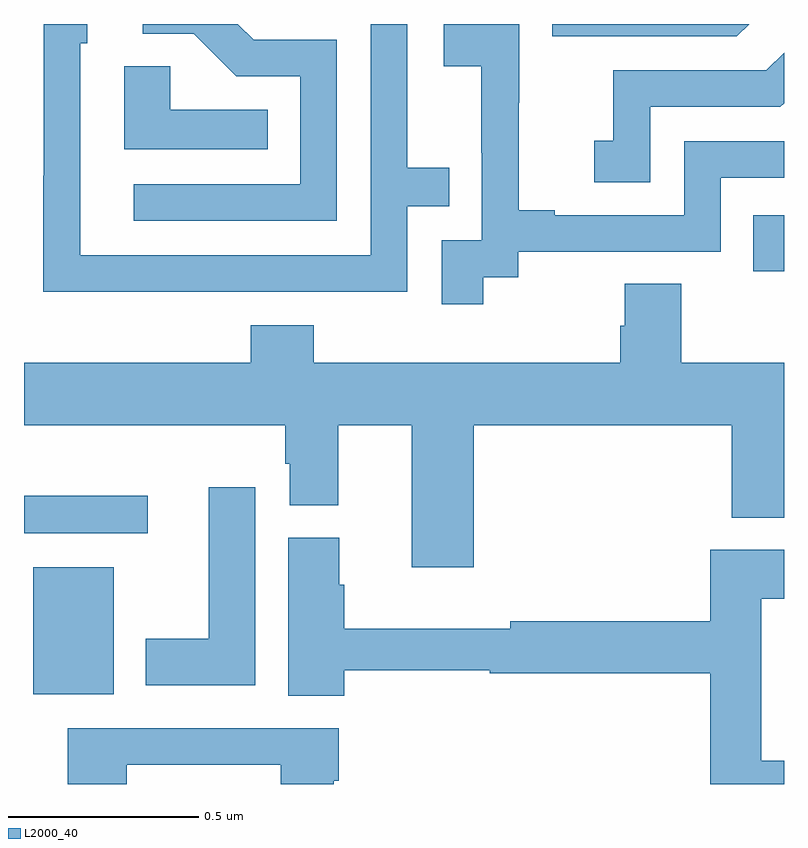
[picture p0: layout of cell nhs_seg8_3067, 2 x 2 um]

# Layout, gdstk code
import gdstk
lib = gdstk.Library(unit=1e-6, precision=1e-09)
def R(c, l, rs):  # rectangles x0, y0, x1, y1
    for r in rs: c.add(gdstk.rectangle(r[:2], r[2:], *l))
def P(c, l, *ps):  # polygons
    for p in ps: c.add(gdstk.Polygon(p, *l))
L2000_40 = (2000, 40)

nhs_seg8_3067 = lib.new_cell('nhs_seg8_3067')
R(nhs_seg8_3067, L2000_40, [(152.024,1105.136,152.236,1105.471), (152,1105.56,152.326,1105.658), (153.919,1106.25,154,1106.397)])
P(nhs_seg8_3067, L2000_40, [(152.513,1106.196),(153.009,1106.196),(153.009,1106.421),(153.119,1106.421),(153.119,1106.522),(153.009,1106.522),(153.009,1106.9),(152.913,1106.9),(152.913,1106.292),(152.148,1106.292),(152.148,1106.85),(152.167,1106.85),(152.167,1106.9),(152.052,1106.9),(152.052,1106.501),(152.05,1106.501),(152.05,1106.195),(152.513,1106.195)],
  [(153.908,1106.9),(153.39,1106.9),(153.39,1106.868),(153.876,1106.868)],
  [(152.823,1106.859),(152.604,1106.859),(152.563,1106.9),(152.313,1106.9),(152.313,1106.874),(152.447,1106.874),(152.558,1106.763),(152.727,1106.763),(152.727,1106.478),(152.289,1106.478),(152.289,1106.382),(152.823,1106.382)],
  [(153.208,1106.233),(153.3,1106.233),(153.3,1106.301),(153.834,1106.301),(153.834,1106.496),(154,1106.496),(154,1106.592),(153.738,1106.592),(153.738,1106.397),(153.397,1106.397),(153.397,1106.41),(153.302,1106.41),(153.302,1106.693),(153.303,1106.693),(153.303,1106.899),(153.105,1106.899),(153.105,1106.789),(153.203,1106.789),(153.203,1106.561),(153.204,1106.561),(153.204,1106.331),(153.099,1106.331),(153.099,1106.163),(153.208,1106.163)],
  [(153.648,1106.682),(153.99,1106.682),(154,1106.692),(154,1106.825),(153.953,1106.778),(153.55,1106.778),(153.55,1106.593),(153.501,1106.593),(153.501,1106.484),(153.648,1106.484)],
  [(152.642,1106.674),(152.385,1106.674),(152.385,1106.789),(152.264,1106.789),(152.264,1106.57),(152.642,1106.57)],
  [(153.184,1105.844),(153.863,1105.844),(153.863,1105.601),(154,1105.601),(154,1106.008),(153.729,1106.008),(153.729,1106.216),(153.581,1106.216),(153.581,1106.106),(153.569,1106.106),(153.569,1106.008),(152.762,1106.008),(152.762,1106.107),(152.597,1106.107),(152.597,1106.008),(152,1106.008),(152,1105.844),(152.687,1105.844),(152.687,1105.743),(152.699,1105.743),(152.699,1105.633),(152.827,1105.633),(152.827,1105.844),(153.02,1105.844),(153.02,1105.47),(153.184,1105.47)],
  [(152.608,1105.681),(152.486,1105.681),(152.486,1105.282),(152.321,1105.282),(152.321,1105.16),(152.608,1105.16)],
  [(154,1104.961),(153.94,1104.961),(153.94,1105.388),(154,1105.388),(154,1105.516),(153.806,1105.516),(153.806,1105.328),(153.28,1105.328),(153.28,1105.309),(152.843,1105.309),(152.843,1105.424),(152.83,1105.424),(152.83,1105.548),(152.696,1105.548),(152.696,1105.132),(152.843,1105.132),(152.843,1105.2),(153.226,1105.2),(153.226,1105.192),(153.806,1105.192),(153.806,1104.9),(154,1104.9)],
  [(152.271,1104.951),(152.675,1104.951),(152.675,1104.9),(152.815,1104.9),(152.815,1104.909),(152.828,1104.909),(152.828,1105.047),(152.115,1105.047),(152.115,1104.9),(152.271,1104.9)])

lib.write_gds('nhs_seg8_3067.gds')
